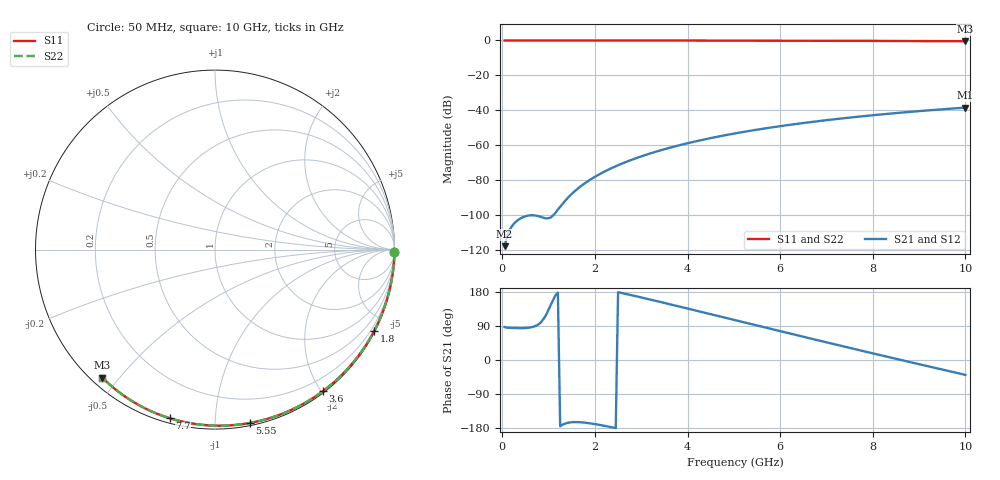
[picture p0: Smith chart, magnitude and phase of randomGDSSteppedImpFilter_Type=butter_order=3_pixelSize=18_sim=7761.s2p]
! freq	dB(S11)	phase(S11)	dB(S12)	phase(S12)
!  dB(S21)	phase(S21)	dB(S22)	phase(S22)
!S-par simulation data
#  GHz  S  DB  R 50
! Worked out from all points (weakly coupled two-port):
!   200 points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, 50 MHz to 10 GHz, reference 50 ohm
!   highest |S21| = -38.45 dB at 10 GHz (marker M1); lowest = -117.8 dB at 50 MHz (marker M2)
!   lowest |S11| = -0.4 dB at 10 GHz (marker M3), VSWR 39.12, Z = 1.54 - j22.6 ohm
!   |S11| at or under -10 dB: nowhere
!   |S22| runs from -0.4 to 0.0 dB; largest |S21 - S12| = 0
!   S11 on the Smith chart (normalised r, x): 50 MHz: open; 1.8 GHz: 0.04, -4.18; 3.6 GHz: 0.02, -2.02; 5.55 GHz: 0.02, -1.22; 7.7 GHz: 0.02, -0.77; 10 GHz: 0.03, -0.45
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0.05  -0.00 -0.8  -117.79 86.9  -117.79 86.9  -0.00 -0.8
0.9  -0.02 -13.6  -101.61 110.1  -101.61 110.1  -0.02 -13.6
1.75  -0.03 -26.2  -82.37 -164.9  -82.37 -164.9  -0.03 -26.2
1.8  -0.03 -26.9  -81.43 -165.6  -81.43 -165.6  -0.03 -26.9
1.85  -0.04 -27.6  -80.54 -166.3  -80.54 -166.3  -0.04 -27.6
1.9  -0.04 -28.4  -79.68 -167.2  -79.68 -167.2  -0.04 -28.4
2.05  -0.04 -30.6  -77.30 -170.1  -77.30 -170.1  -0.04 -30.6
2.25  -0.04 -33.5  -74.49 -174.7  -74.49 -174.7  -0.04 -33.5
2.45  -0.05 -36.4  -72.01 -179.8  -72.01 -179.8  -0.05 -36.4
2.65  -0.05 -39.2  -69.78 174.9  -69.78 174.9  -0.05 -39.2
3  -0.06 -44.2  -66.37 165.1  -66.37 165.1  -0.06 -44.2
3.4  -0.07 -49.8  -63.03 153.6  -63.03 153.6  -0.07 -49.8
3.6  -0.07 -52.6  -61.54 147.7  -61.54 147.7  -0.07 -52.6
4.3  -0.09 -62.2  -57.03 126.9  -57.03 126.9  -0.09 -62.2
5.05  -0.11 -72.1  -53.11 104.4  -53.11 104.4  -0.11 -72.1
5.55  -0.13 -78.6  -50.87 89.5  -50.87 89.5  -0.13 -78.6
6.1  -0.15 -85.6  -48.70 73.1  -48.70 73.1  -0.15 -85.6
6.7  -0.18 -93.0  -46.60 55.4  -46.60 55.4  -0.18 -93.0
7.7  -0.24 -105.0  -43.61 26.2  -43.61 26.2  -0.24 -105.0
8.35  -0.29 -112.6  -41.94 7.5  -41.94 7.5  -0.29 -112.6
9.15  -0.36 -121.7  -40.13 -15.3  -40.13 -15.3  -0.36 -121.7
10  -0.44 -131.3  -38.45 -39.3  -38.45 -39.3  -0.44 -131.3
